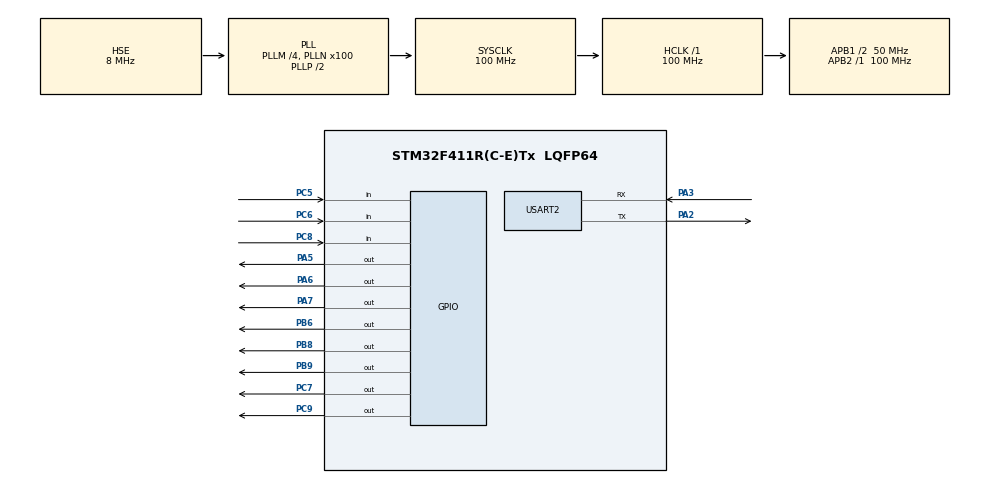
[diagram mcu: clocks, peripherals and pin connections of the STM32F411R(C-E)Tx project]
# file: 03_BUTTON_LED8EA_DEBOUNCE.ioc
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Mcu.Family=STM32F4
Mcu.Name=STM32F411R(C-E)Tx
Mcu.Package=LQFP64
NVIC.PriorityGroup=NVIC_PRIORITYGROUP_4
NVIC.USART2_IRQn=true\:0\:0\:false\:false\:true\:true\:true\:true
PA13.Mode=Serial_Wire
PA13.Signal=SYS_JTMS-SWDIO
PA14.Mode=Serial_Wire
PA14.Signal=SYS_JTCK-SWCLK
PA2.Mode=Asynchronous
PA2.Signal=USART2_TX
PA3.Mode=Asynchronous
PA3.Signal=USART2_RX
PA5.Signal=GPIO_Output
PA6.Signal=GPIO_Output
PA7.Signal=GPIO_Output
PB6.Signal=GPIO_Output
PB8.Signal=GPIO_Output
PB9.Signal=GPIO_Output
PC5.Signal=GPIO_Input
PC6.Signal=GPIO_Input
PC7.Signal=GPIO_Output
PC8.Signal=GPIO_Input
PC9.Signal=GPIO_Output
PH0\ -\ OSC_IN.Mode=HSE-External-Oscillator
PH0\ -\ OSC_IN.Signal=RCC_OSC_IN
PH1\ -\ OSC_OUT.Mode=HSE-External-Oscillator
PH1\ -\ OSC_OUT.Signal=RCC_OSC_OUT
ProjectManager.HeapSize=0x200
ProjectManager.StackSize=0x400
ProjectManager.TargetToolchain=STM32CubeIDE
RCC.48MHZClocksFreq_Value=50000000
RCC.AHBFreq_Value=100000000
RCC.APB1CLKDivider=RCC_HCLK_DIV2
RCC.APB1Freq_Value=50000000
RCC.APB1TimFreq_Value=100000000
RCC.APB2Freq_Value=100000000
RCC.APB2TimFreq_Value=100000000
RCC.CortexFreq_Value=100000000
RCC.HCLKFreq_Value=100000000
RCC.HSE_VALUE=8000000
RCC.HSI_VALUE=16000000
RCC.LSE_VALUE=32768
RCC.PLLM=4
RCC.PLLN=100
RCC.PLLSourceVirtual=RCC_PLLSOURCE_HSE
RCC.SYSCLKFreq_VALUE=100000000
RCC.SYSCLKSource=RCC_SYSCLKSOURCE_PLLCLK
RCC.VCOOutputFreq_Value=200000000
USART2.VirtualMode=VM_ASYNC
board=custom

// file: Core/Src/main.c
/* USER CODE BEGIN Header */
/**
  ******************************************************************************
  * @file           : main.c
  * @brief          : Main program body
  ******************************************************************************
  * @attention
  *
  * Copyright (c) 2025 STMicroelectronics.
  * All rights reserved.
  *
  * This software is licensed under terms that can be found in the LICENSE file
  * in the root directory of this software component.
  * If no LICENSE file comes with this software, it is provided AS-IS.
  *
  ******************************************************************************
  */
/* USER CODE END Header */
#include "main.h"
#include "usart.h"
#include "gpio.h"

/* USER CODE BEGIN Includes */

#include "led.h"

/* USER CODE END Includes */

/* USER CODE BEGIN PD */

#define DEBOUNCE_DELAY  50      // 디바운스 딜레스 50ms 주기 위해 선언 !!!

/* USER CODE END PD */

void SystemClock_Config(void);
/* USER CODE BEGIN PFP */

uint32_t millis()     // 뭔지 모르지만 32비트형 양의 데이터를 반환하겠다는 뜻
{
  return HAL_GetTick();
}

/* USER CODE END PFP */

int main(void)
{

  /* MCU Configuration--------------------------------------------------------*/

  /* Reset of all peripherals, Initializes the Flash interface and the Systick. */
  HAL_Init();

  /* Configure the system clock */
  SystemClock_Config();

  /* Initialize all configured peripherals */
  MX_GPIO_Init();
  MX_USART2_UART_Init();
  /* USER CODE BEGIN 2 */

  uint32_t lastDebounceTime = 0;      // 이 넘은 지역변수라 초기화 해야함!! (메인함수내의 지역변수)

  // 처음 실행시의 상태 기본값
  // 왜?? 풀업저항이기 때문에 High로 시작함
  GPIO_PinState lastButtonState = GPIO_PIN_SET;     // 마지막 버튼 상태

  /* USER CODE END 2 */

  /* Infinite loop */
  /* USER CODE BEGIN WHILE */
  while (1)
  {
    // 현재의 버튼 상태를 읽어오는 건데
    // 눌렀으면 LOW, 안눌렀으면 HIGH --> 이것을 currentsButtonState에 저장
    GPIO_PinState currentButtonState = HAL_GPIO_ReadPin(GPIOC, GPIO_PIN_8);

    //기존의 상태(lastButtonState)와 비교를 하는데
    // 버튼 상태가 변했는지 ?
    if(currentButtonState != lastButtonState)   // 눌렀다는 얘기
    {
      // 디바운스 시간 까지 잠깐 대기 (단순하게 상태가 변한 시간이 설정한 50ms를 지났느냐?)
      if(millis() - lastDebounceTime > DEBOUNCE_DELAY)
      {
        // 버튼 상태가 변했는데..(왜? 기본적으로 위의 if문을 지나왔기 때문에)
        // 현재 가져온 상태가..버튼이 눌렸다면..(버튼이 눌리면 풀업저항이기 때문에 LOW임)
        if(currentButtonState == GPIO_PIN_RESET)
        {
          // 버튼이 눌렸을때 실행할 코드 입력
          ledOn(8);
        }
        // else문은 안눌렸다면..(안눌리면 HIGH임)
        else
        {
          // 버튼이 눌리지 않았을때 실행할 코드 입력
          ledOff(8);
        }
        lastDebounceTime = millis(); // 초기화
      }
    }
    lastButtonState = currentButtonState;

    /* USER CODE END WHILE */

  }
}

void SystemClock_Config(void)
{
  RCC_OscInitTypeDef RCC_OscInitStruct = {0};
  RCC_ClkInitTypeDef RCC_ClkInitStruct = {0};

  /** Configure the main internal regulator output voltage
  */
  __HAL_RCC_PWR_CLK_ENABLE();
  __HAL_PWR_VOLTAGESCALING_CONFIG(PWR_REGULATOR_VOLTAGE_SCALE1);

  /** Initializes the RCC Oscillators according to the specified parameters
  * in the RCC_OscInitTypeDef structure.
  */
  RCC_OscInitStruct.OscillatorType = RCC_OSCILLATORTYPE_HSE;
  RCC_OscInitStruct.HSEState = RCC_HSE_ON;
  RCC_OscInitStruct.PLL.PLLState = RCC_PLL_ON;
  RCC_OscInitStruct.PLL.PLLSource = RCC_PLLSOURCE_HSE;
  RCC_OscInitStruct.PLL.PLLM = 4;
  RCC_OscInitStruct.PLL.PLLN = 100;
  RCC_OscInitStruct.PLL.PLLP = RCC_PLLP_DIV2;
  RCC_OscInitStruct.PLL.PLLQ = 4;
  if (HAL_RCC_OscConfig(&RCC_OscInitStruct) != HAL_OK)
  {
    Error_Handler();
  }

  /** Initializes the CPU, AHB and APB buses clocks
  */
  RCC_ClkInitStruct.ClockType = RCC_CLOCKTYPE_HCLK|RCC_CLOCKTYPE_SYSCLK
                              |RCC_CLOCKTYPE_PCLK1|RCC_CLOCKTYPE_PCLK2;
  RCC_ClkInitStruct.SYSCLKSource = RCC_SYSCLKSOURCE_PLLCLK;
  RCC_ClkInitStruct.AHBCLKDivider = RCC_SYSCLK_DIV1;
  RCC_ClkInitStruct.APB1CLKDivider = RCC_HCLK_DIV2;
  RCC_ClkInitStruct.APB2CLKDivider = RCC_HCLK_DIV1;

  if (HAL_RCC_ClockConfig(&RCC_ClkInitStruct, FLASH_LATENCY_3) != HAL_OK)
  {
    Error_Handler();
  }
}

void Error_Handler(void)
{
  __disable_irq();
  while (1)
  {
  }
}
